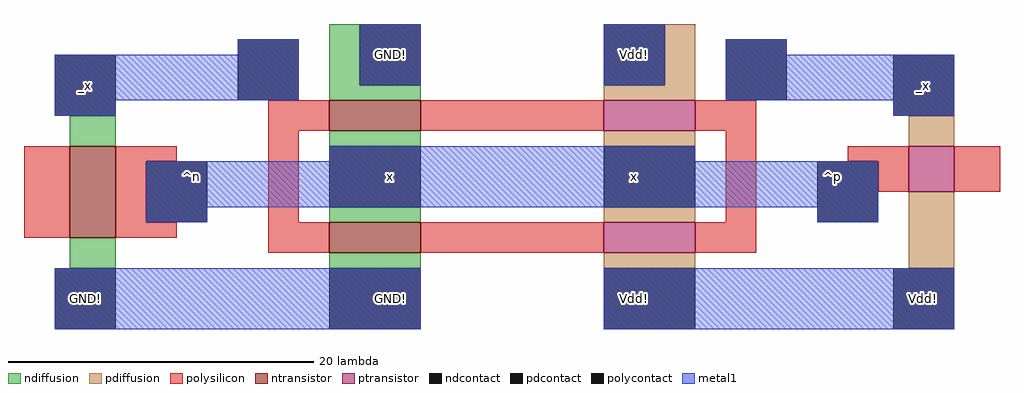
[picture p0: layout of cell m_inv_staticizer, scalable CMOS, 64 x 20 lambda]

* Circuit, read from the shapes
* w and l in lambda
.subckt m_inv_staticizer GND! Vdd! _x x
M1 _x x GND! VSUBS nfet w=3 l=6
M2 x _x GND! VSUBS nfet w=6 l=2 m=2
M3 x _x Vdd! NWELL pfet w=6 l=2 m=2
M4 _x x Vdd! NWELL pfet w=3 l=3
.ends

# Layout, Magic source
magic
tech scmos
<< ndiffusion >>
rect 118 83 120 87
rect 118 82 124 83
rect 101 79 104 81
rect 118 79 124 80
rect 118 74 124 75
rect 101 71 104 73
rect 118 71 124 72
<< pdiffusion >>
rect 140 83 142 87
rect 136 82 142 83
rect 136 79 142 80
rect 136 74 142 75
rect 156 79 159 81
rect 136 71 142 72
rect 156 71 159 76
<< ntransistor >>
rect 118 80 124 82
rect 101 73 104 79
rect 118 72 124 74
<< ptransistor >>
rect 136 80 142 82
rect 156 76 159 79
rect 136 72 142 74
<< polysilicon >>
rect 114 80 118 82
rect 124 80 136 82
rect 142 80 146 82
rect 98 73 101 79
rect 104 78 108 79
rect 104 74 106 78
rect 114 74 116 80
rect 144 74 146 80
rect 152 78 156 79
rect 154 76 156 78
rect 159 76 162 79
rect 104 73 108 74
rect 114 72 118 74
rect 124 72 136 74
rect 142 72 146 74
<< ndcontact >>
rect 100 81 104 85
rect 120 83 124 87
rect 118 75 124 79
rect 100 67 104 71
rect 118 67 124 71
<< pdcontact >>
rect 136 83 140 87
rect 155 81 159 85
rect 136 75 142 79
rect 136 67 142 71
rect 155 67 159 71
<< polycontact >>
rect 112 82 116 86
rect 144 82 148 86
rect 106 74 110 78
rect 150 74 154 78
<< metal1 >>
rect 112 85 116 86
rect 100 82 116 85
rect 120 83 124 87
rect 136 83 140 87
rect 144 85 148 86
rect 144 82 159 85
rect 100 81 104 82
rect 155 81 159 82
rect 118 78 142 79
rect 106 75 154 78
rect 106 74 110 75
rect 150 74 154 75
rect 100 67 124 71
rect 136 67 159 71
<< labels >>
rlabel space 97 66 121 88 7 ^n
rlabel space 139 66 163 88 3 ^p
rlabel ndcontact 122 69 122 69 1 GND!
rlabel ndcontact 122 85 122 85 5 GND!
rlabel ndcontact 122 77 122 77 1 x
rlabel pdcontact 138 85 138 85 5 Vdd!
rlabel pdcontact 138 69 138 69 1 Vdd!
rlabel pdcontact 138 77 138 77 1 x
rlabel ndcontact 102 69 102 69 1 GND!
rlabel ndcontact 102 83 102 83 5 _x
rlabel pdcontact 157 83 157 83 4 _x
rlabel pdcontact 157 69 157 69 1 Vdd!
<< end >>
